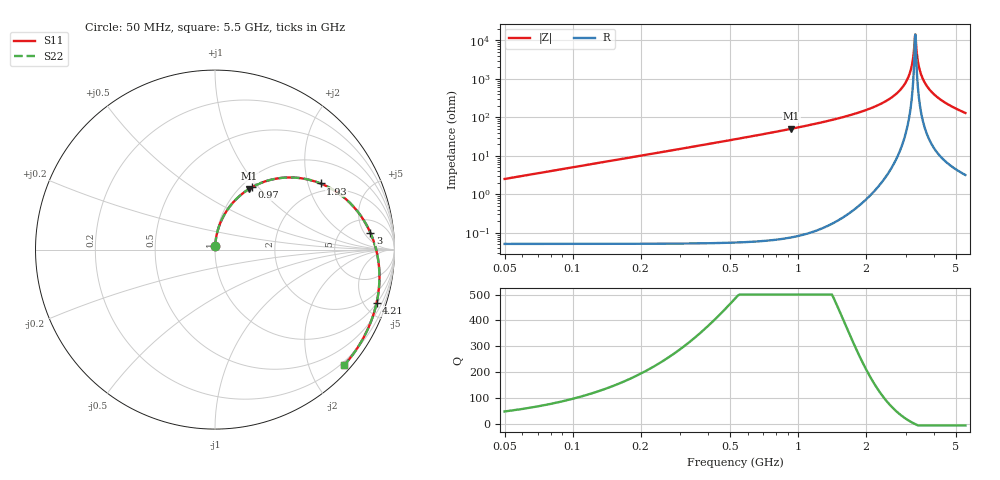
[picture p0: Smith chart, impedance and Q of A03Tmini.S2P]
! Coilcraft A03T_ Mini Spring Air Core Inductor
! 30 May 2003
# MHZ S MA R 50
!Freq  MagS11  AngS11  MagS21  AngS21  MagS12  AngS12  MagS22  AngS22
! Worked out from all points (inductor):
!   546 points, 50 MHz to 5.5 GHz, reference 50 ohm
!   read as 1/Y11, port 2 shorted: L = 7.98 nH near 70 MHz
!   highest Q = 666 at 930 MHz (marker M1), where L = 8.64 nH
!   self-resonance near 3.29 GHz
!   S11 on the Smith chart (normalised r, x): 50 MHz: 1.00, +0.04; 970 MHz: 1.11, +0.93; 1.93 GHz: 1.70, +2.41; 3 GHz: 9, +7; 4.21 GHz: 1.03, -6.06; 5.5 GHz: 0.14, -2.61
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50  0.02206 87.1  0.9992 -1.6  0.9992 -1.6  0.02206 87.1
100  0.04408 86.1  0.9985 -3.2  0.9985 -3.2  0.04409 86.1
150  0.06607 84.7  0.9973 -4.8  0.9973 -4.8  0.06609 84.7
220  0.09674 82.6  0.9948 -7.1  0.9948 -7.1  0.09677 82.6
310  0.1359 79.8  0.9902 -10.0  0.9902 -10.0  0.1359 79.8
430  0.1875 76.1  0.9818 -13.8  0.9818 -13.8  0.1875 76.1
570  0.2464 71.7  0.9687 -18.2  0.9687 -18.2  0.2464 71.7
740  0.3155 66.4  0.9484 -23.5  0.9484 -23.5  0.3156 66.4
930  0.3891 60.5  0.9206 -29.4  0.9206 -29.4  0.3892 60.5
960  0.4003 59.6  0.9157 -30.3  0.9157 -30.3  0.4004 59.6
970  0.404 59.3  0.9141 -30.6  0.9141 -30.6  0.4041 59.3
1410  0.5537 46.3  0.8316 -43.6  0.8316 -43.6  0.5539 46.3
1870  0.68 33.6  0.731 -56.2  0.731 -56.2  0.6802 33.6
1930  0.6942 32.0  0.7174 -57.8  0.7174 -57.8  0.6944 32.0
2360  0.7814 21.1  0.6194 -68.6  0.6194 -68.6  0.7816 21.1
2780  0.8446 11.2  0.5272 -78.3  0.5272 -78.3  0.8448 11.2
3000  0.8703 6.2  0.4817 -83.1  0.4817 -83.1  0.8706 6.2
3690  0.9254 -8.2  0.3564 -96.8  0.3564 -96.8  0.9256 -8.2
4210  0.948 -18.2  0.2823 -106.0  0.2823 -106.0  0.9482 -18.2
4600  0.9578 -25.5  0.2393 -112.4  0.2393 -112.4  0.958 -25.5
5090  0.9641 -34.4  0.2013 -120.0  0.2013 -120.0  0.9643 -34.4
5500  0.9656 -41.8  0.1842 -126.5  0.1842 -126.5  0.9658 -41.8
